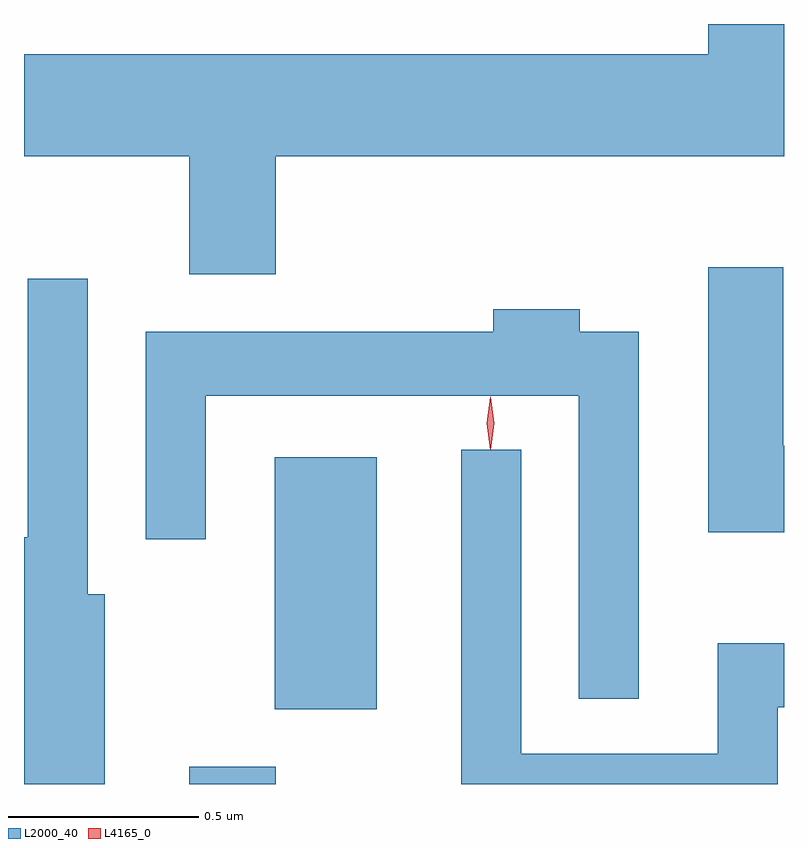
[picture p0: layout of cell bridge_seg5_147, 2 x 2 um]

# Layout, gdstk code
import gdstk
lib = gdstk.Library(unit=1e-6, precision=1e-09)
def R(c, l, rs):  # rectangles x0, y0, x1, y1
    for r in rs: c.add(gdstk.rectangle(r[:2], r[2:], *l))
def P(c, l, *ps):  # polygons
    for p in ps: c.add(gdstk.Polygon(p, *l))
L2000_40 = (2000, 40)
L4165_0 = (4165, 0)

bridge_seg5_147 = lib.new_cell('bridge_seg5_147')
R(bridge_seg5_147, L2000_40, [(1210.711,1417.404,1210.939,1417.449), (1210.936,1417.601,1211.204,1418.264)])
P(bridge_seg5_147, L2000_40, [(1210.939,1419.056),(1212.276,1419.056),(1212.276,1419.404),(1212.076,1419.404),(1212.076,1419.324),(1210.276,1419.324),(1210.276,1419.056),(1210.711,1419.056),(1210.711,1418.746),(1210.939,1418.746)],
  [(1212.276,1418.294),(1212.274,1418.294),(1212.274,1418.764),(1212.076,1418.764),(1212.076,1418.066),(1212.276,1418.066)],
  [(1210.489,1417.904),(1210.444,1417.904),(1210.444,1418.733),(1210.286,1418.733),(1210.286,1418.054),(1210.276,1418.054),(1210.276,1417.404),(1210.489,1417.404)],
  [(1211.894,1418.594),(1211.739,1418.594),(1211.739,1418.654),(1211.511,1418.654),(1211.511,1418.594),(1210.596,1418.594),(1210.596,1418.048),(1210.754,1418.048),(1210.754,1418.426),(1211.736,1418.426),(1211.736,1417.628),(1211.894,1417.628)],
  [(1212.259,1417.606),(1212.276,1417.606),(1212.276,1417.774),(1212.101,1417.774),(1212.101,1417.484),(1211.584,1417.484),(1211.584,1418.283),(1211.426,1418.283),(1211.426,1417.404),(1212.259,1417.404)])
P(bridge_seg5_147, L4165_0, [(1211.504,1418.287),(1211.503,1418.288),(1211.494,1418.354),(1211.503,1418.42),(1211.504,1418.42),(1211.504,1418.42),(1211.514,1418.354),(1211.504,1418.288)],
  [(1211.503,1418.284),(1211.494,1418.353),(1211.503,1418.422),(1211.504,1418.423),(1211.504,1418.422),(1211.514,1418.353),(1211.504,1418.284),(1211.504,1418.284)])

lib.write_gds('bridge_seg5_147.gds')
